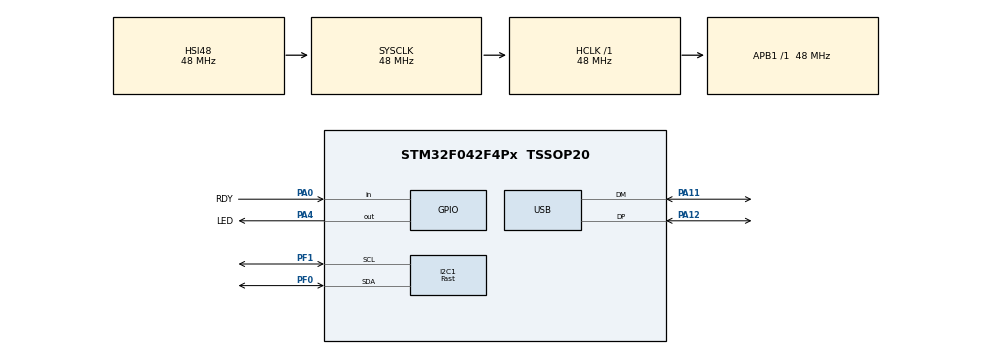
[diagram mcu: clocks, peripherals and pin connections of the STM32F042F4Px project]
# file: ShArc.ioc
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I2C1.I2C_Speed_Mode=I2C_Fast
I2C1.Timing=0x0000020B
Mcu.Family=STM32F0
Mcu.Name=STM32F042F4Px
Mcu.Package=TSSOP20
NVIC.USB_IRQn=true\:0\:0\:false\:false\:true\:false\:true
PA0.GPIO_Label=RDY
PA0.Signal=GPIO_Input
PA11.Mode=Device
PA11.Signal=USB_DM
PA12.Mode=Device
PA12.Signal=USB_DP
PA4.GPIO_Label=LED
PA4.Signal=GPIO_Output
PF0-OSC_IN.Mode=I2C
PF0-OSC_IN.Signal=I2C1_SDA
PF1-OSC_OUT.Mode=I2C
PF1-OSC_OUT.Signal=I2C1_SCL
ProjectManager.HeapSize=0x200
ProjectManager.StackSize=0x200
ProjectManager.TargetToolchain=STM32CubeIDE
RCC.AHBFreq_Value=48000000
RCC.APB1Freq_Value=48000000
RCC.APB1TimFreq_Value=48000000
RCC.HCLKFreq_Value=48000000
RCC.SYSCLKFreq_VALUE=48000000
RCC.SYSCLKSource=RCC_SYSCLKSOURCE_HSI48
USB_DEVICE.CLASS_NAME_FS=CDC
USB_DEVICE.VirtualMode=Cdc
USB_DEVICE.VirtualModeFS=Cdc_FS
VP_SYS_VS_PINREMAP.Mode=PINREMAP
VP_USB_DEVICE_VS_USB_DEVICE_CDC_FS.Mode=CDC_FS
board=custom

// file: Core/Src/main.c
/* USER CODE BEGIN Header */
/**
  ******************************************************************************
  * @file           : main.c
  * @brief          : Main program body
  ******************************************************************************
  * @attention
  *
  * <h2><center>&copy; Copyright (c) 2020 STMicroelectronics.
  * All rights reserved.</center></h2>
  *
  * This software component is licensed by ST under BSD 3-Clause license,
  * the "License"; You may not use this file except in compliance with the
  * License. You may obtain a copy of the License at:
  *                        opensource.org/licenses/BSD-3-Clause
  *
  ******************************************************************************
  */
/* USER CODE END Header */

#include "main.h"
#include "usb_device.h"

/* USER CODE BEGIN PTD */
// All scans in differential mode,  {CIN 1, CIN1, CIN2, CIN2}
uint8_t CAP_SETUP_SETTINGS[4] = { 0xA0, 0xA0, 0xE0, 0xE0};
// All scans full voltage,  {EXC A, EXC B, EXCA, EXCB}
uint8_t EXC_SETUP_SETTINGS[4] = { 0x08, 0x20, 0x08, 0x20};
/* USER CODE END PTD */

/* USER CODE BEGIN PD */
#define AD_ADDR 0x90
#define CAP_SETUP 0x07
#define EXC_SETUP 0x09
#define CAP_DATA 0x01
/* USER CODE END PD */

I2C_HandleTypeDef hi2c1;

/* USER CODE BEGIN PV */
uint8_t AD_RESET = 0xBF;
/* USER CODE END PV */

void SystemClock_Config(void);
static void MX_GPIO_Init(void);
static void MX_I2C1_Init(void);
/* USER CODE BEGIN PFP */
HAL_StatusTypeDef AD_SEND_RESET(void);
/* USER CODE END PFP */

int main(void)
{

  /* MCU Configuration--------------------------------------------------------*/

  /* Reset of all peripherals, Initializes the Flash interface and the Systick. */
  HAL_Init();

  /* Configure the system clock */
  SystemClock_Config();

  /* Initialize all configured peripherals */
  MX_GPIO_Init();
  MX_I2C1_Init();
  MX_USB_DEVICE_Init();
  /* USER CODE BEGIN 2 */
//  HAL_I2C_Master_Transmit(&hi2c1, AD_ADDR, &AD_RESET, 1, HAL_MAX_DELAY);
  HAL_I2C_Mem_Write(&hi2c1, AD_ADDR, 0xBF, 1, 0x00, 1, HAL_MAX_DELAY);
  // Enable Cap measurement and differential mode
  /* USER CODE END 2 */

  /* Infinite loop */
  /* USER CODE BEGIN WHILE */
  uint8_t pixel_data[4] = {0x00, 0x00, 0x00, 0x00};
  uint8_t mode = 0x05;
  uint8_t capdac_calA[4] = {0x00, 0x00, 0x00, 0x00};
  uint8_t capdac_calB[4] = {0x00, 0x00, 0x00, 0x00};
  while (1)
  {
	  for(pixel_data[0] = 0; pixel_data[0] < 4; pixel_data[0]++)
	  {
		  if(mode == 0x02)
		  {
			  // Setup up capacitance measurement settings
			  HAL_I2C_Mem_Write(&hi2c1, AD_ADDR, 0x0D, 1, (uint8_t *)&capdac_calA[pixel_data[0]], 1, HAL_MAX_DELAY);
			  HAL_I2C_Mem_Write(&hi2c1, AD_ADDR, 0x0E, 1, (uint8_t *)&capdac_calB[pixel_data[0]], 1, HAL_MAX_DELAY);
		  }
		  // Setup up capacitance measurement settings
		  HAL_I2C_Mem_Write(&hi2c1, AD_ADDR, CAP_SETUP, 1, &CAP_SETUP_SETTINGS[pixel_data[0]], 1, HAL_MAX_DELAY);
		  // Set up excitation settings
		  HAL_I2C_Mem_Write(&hi2c1, AD_ADDR, EXC_SETUP, 1, &EXC_SETUP_SETTINGS[pixel_data[0]], 1, HAL_MAX_DELAY);
		  // Begin scan
		  HAL_I2C_Mem_Write(&hi2c1, AD_ADDR, 0x0a, 1, &mode, 1, HAL_MAX_DELAY);
		  // Wait for RDY to be low
		  while((RDY_GPIO_Port->IDR & RDY_Pin) != 0){}
		  // Read back the data
		  HAL_I2C_Mem_Read(&hi2c1, AD_ADDR, CAP_DATA, 1, &pixel_data[1], 3, HAL_MAX_DELAY);
		  if(mode == 0x05)
		  {
			  HAL_I2C_Mem_Read(&hi2c1, AD_ADDR, 0x0D, 1, (uint8_t *)&capdac_calA[pixel_data[0]], 1, HAL_MAX_DELAY);
			  HAL_I2C_Mem_Read(&hi2c1, AD_ADDR, 0x0E, 1, (uint8_t *)&capdac_calB[pixel_data[0]], 1, HAL_MAX_DELAY);
		  }
		  // Send via USB
		  CDC_Transmit_FS(&pixel_data, 4);
		  HAL_GPIO_TogglePin(LED_GPIO_Port, LED_Pin);
		  // Wait for RDY to be high
		  while((RDY_GPIO_Port->IDR & RDY_Pin) == 0){}
	  }
	  mode = 0x02;
    /* USER CODE END WHILE */

  }
}

void SystemClock_Config(void)
{
  RCC_OscInitTypeDef RCC_OscInitStruct = {0};
  RCC_ClkInitTypeDef RCC_ClkInitStruct = {0};
  RCC_PeriphCLKInitTypeDef PeriphClkInit = {0};

  /** Initializes the CPU, AHB and APB busses clocks
  */
  RCC_OscInitStruct.OscillatorType = RCC_OSCILLATORTYPE_HSI|RCC_OSCILLATORTYPE_HSI48;
  RCC_OscInitStruct.HSIState = RCC_HSI_ON;
  RCC_OscInitStruct.HSI48State = RCC_HSI48_ON;
  RCC_OscInitStruct.HSICalibrationValue = RCC_HSICALIBRATION_DEFAULT;
  RCC_OscInitStruct.PLL.PLLState = RCC_PLL_NONE;
  if (HAL_RCC_OscConfig(&RCC_OscInitStruct) != HAL_OK)
  {
    Error_Handler();
  }
  /** Initializes the CPU, AHB and APB busses clocks
  */
  RCC_ClkInitStruct.ClockType = RCC_CLOCKTYPE_HCLK|RCC_CLOCKTYPE_SYSCLK
                              |RCC_CLOCKTYPE_PCLK1;
  RCC_ClkInitStruct.SYSCLKSource = RCC_SYSCLKSOURCE_HSI48;
  RCC_ClkInitStruct.AHBCLKDivider = RCC_SYSCLK_DIV1;
  RCC_ClkInitStruct.APB1CLKDivider = RCC_HCLK_DIV1;

  if (HAL_RCC_ClockConfig(&RCC_ClkInitStruct, FLASH_LATENCY_1) != HAL_OK)
  {
    Error_Handler();
  }
  PeriphClkInit.PeriphClockSelection = RCC_PERIPHCLK_USB|RCC_PERIPHCLK_I2C1;
  PeriphClkInit.I2c1ClockSelection = RCC_I2C1CLKSOURCE_HSI;
  PeriphClkInit.UsbClockSelection = RCC_USBCLKSOURCE_HSI48;

  if (HAL_RCCEx_PeriphCLKConfig(&PeriphClkInit) != HAL_OK)
  {
    Error_Handler();
  }
}

static void MX_I2C1_Init(void)
{

  hi2c1.Instance = I2C1;
  hi2c1.Init.Timing = 0x0000020B;
  hi2c1.Init.OwnAddress1 = 0;
  hi2c1.Init.AddressingMode = I2C_ADDRESSINGMODE_7BIT;
  hi2c1.Init.DualAddressMode = I2C_DUALADDRESS_DISABLE;
  hi2c1.Init.OwnAddress2 = 0;
  hi2c1.Init.OwnAddress2Masks = I2C_OA2_NOMASK;
  hi2c1.Init.GeneralCallMode = I2C_GENERALCALL_DISABLE;
  hi2c1.Init.NoStretchMode = I2C_NOSTRETCH_DISABLE;
  if (HAL_I2C_Init(&hi2c1) != HAL_OK)
  {
    Error_Handler();
  }
  /** Configure Analogue filter
  */
  if (HAL_I2CEx_ConfigAnalogFilter(&hi2c1, I2C_ANALOGFILTER_ENABLE) != HAL_OK)
  {
    Error_Handler();
  }
  /** Configure Digital filter
  */
  if (HAL_I2CEx_ConfigDigitalFilter(&hi2c1, 0) != HAL_OK)
  {
    Error_Handler();
  }

}

static void MX_GPIO_Init(void)
{
  GPIO_InitTypeDef GPIO_InitStruct = {0};

  /* GPIO Ports Clock Enable */
  __HAL_RCC_GPIOF_CLK_ENABLE();
  __HAL_RCC_GPIOA_CLK_ENABLE();

  /*Configure GPIO pin Output Level */
  HAL_GPIO_WritePin(LED_GPIO_Port, LED_Pin, GPIO_PIN_RESET);

  /*Configure GPIO pin : RDY_Pin */
  GPIO_InitStruct.Pin = RDY_Pin;
  GPIO_InitStruct.Mode = GPIO_MODE_INPUT;
  GPIO_InitStruct.Pull = GPIO_NOPULL;
  HAL_GPIO_Init(RDY_GPIO_Port, &GPIO_InitStruct);

  /*Configure GPIO pin : LED_Pin */
  GPIO_InitStruct.Pin = LED_Pin;
  GPIO_InitStruct.Mode = GPIO_MODE_OUTPUT_PP;
  GPIO_InitStruct.Pull = GPIO_NOPULL;
  GPIO_InitStruct.Speed = GPIO_SPEED_FREQ_LOW;
  HAL_GPIO_Init(LED_GPIO_Port, &GPIO_InitStruct);

}

void Error_Handler(void)
{
}

/************************ (C) COPYRIGHT STMicroelectronics *****END OF FILE****/
